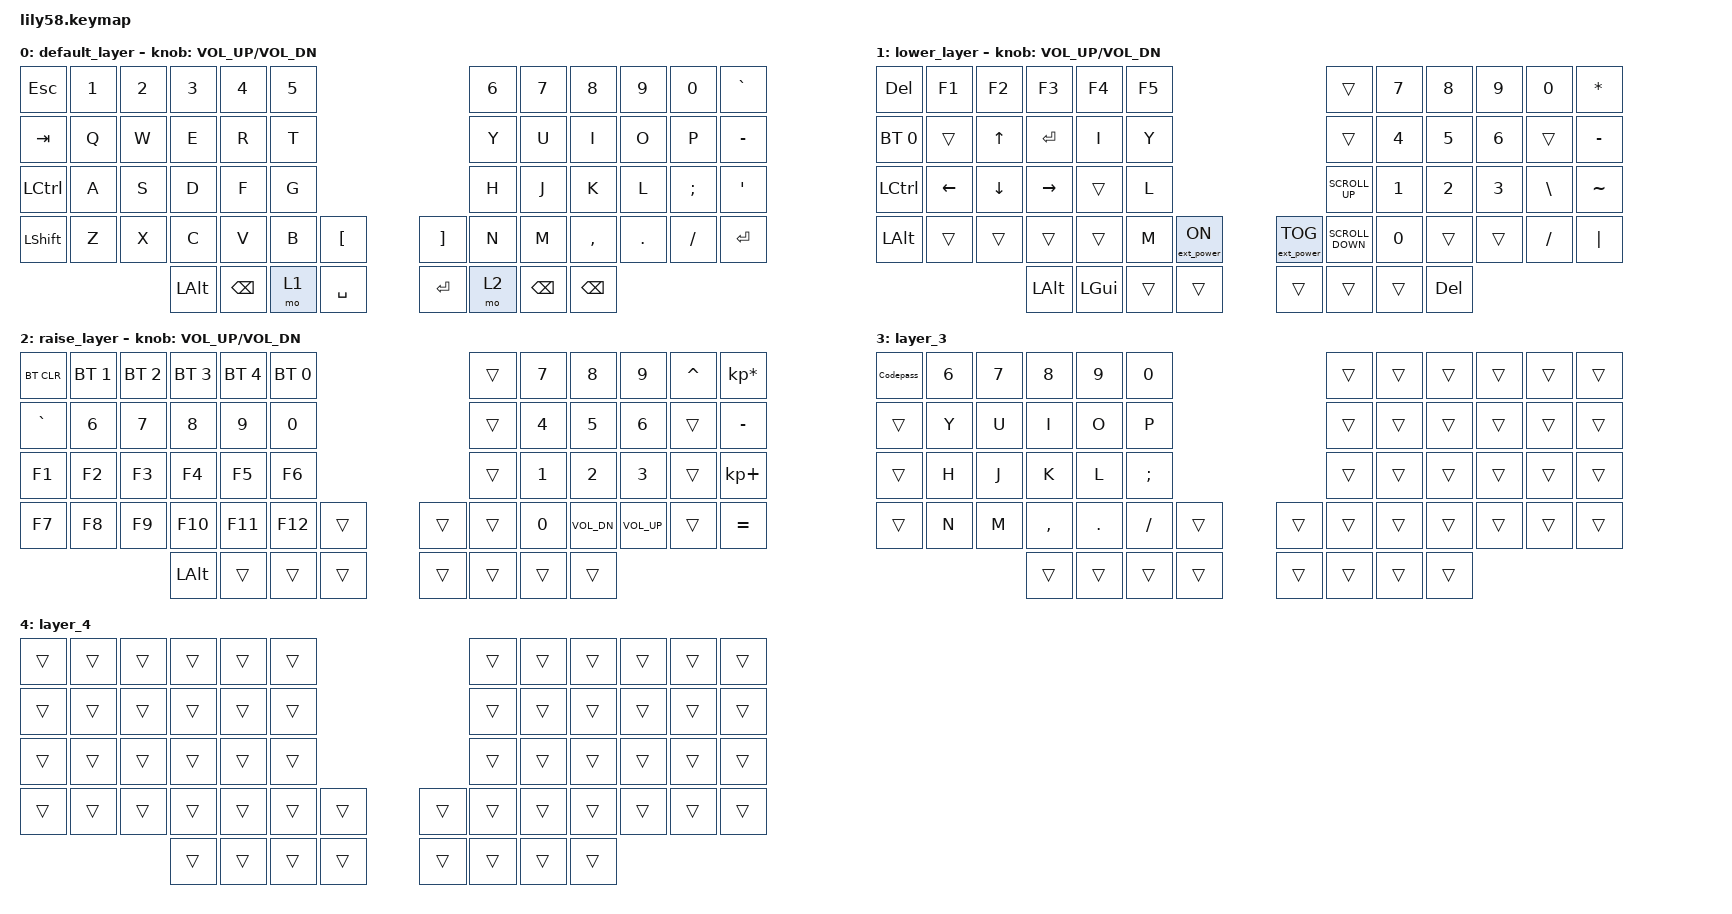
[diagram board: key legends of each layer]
/*
 * Copyright (c) 2020 The ZMK Contributors
 *
 * SPDX-License-Identifier: MIT
 */

#include <behaviors.dtsi>
#include <dt-bindings/zmk/bt.h>
#include <dt-bindings/zmk/ext_power.h>
#include <dt-bindings/zmk/keys.h>

/ {
    macros {
        Codepass: new_macro {
            compatible = "zmk,behavior-macro";
            #binding-cells = <0>;
            bindings = <&kp N0 &kp N9 &kp N3 &kp N2 &kp N2 &kp N4>;
            label = "NEW_MACRO";
        };
    };

    keymap {
        compatible = "zmk,keymap";

        default_layer {
            // ------------------------------------------------------------------------------------------------------------
            // |  ESC  |  1  |  2  |  3   |  4   |  5   |                   |  6   |  7    |  8    |  9   |   0   |   `   |
            // |  TAB  |  Q  |  W  |  E   |  R   |  T   |                   |  Y   |  U    |  I    |  O   |   P   |   -   |
            // |  CTRL |  A  |  S  |  D   |  F   |  G   |                   |  H   |  J    |  K    |  L   |   ;   |   '   |
            // | SHIFT |  Z  |  X  |  C   |  V   |  B   |   "["  |  |  "]"  |  N   |  M    |  ,    |  .   |   /   | SHIFT |
            //                     | ALT  | GUI  | LOWER|  SPACE |  | ENTER | RAISE| BSPC  | GUI   |

            bindings = <
&kp ESC           &kp N1  &kp N2  &kp N3    &kp N4    &kp N5                                         &kp N6  &kp N7         &kp N8     &kp N9   &kp N0    &kp GRAVE
&kp TAB           &kp Q   &kp W   &kp E     &kp R     &kp T                                          &kp Y   &kp U          &kp I      &kp O    &kp P     &kp MINUS
&kp LEFT_CONTROL  &kp A   &kp S   &kp D     &kp F     &kp G                                          &kp H   &kp J          &kp K      &kp L    &kp SEMI  &kp SQT
&kp LSHFT         &kp Z   &kp X   &kp C     &kp V     &kp B   &kp LEFT_BRACKET    &kp RIGHT_BRACKET  &kp N   &kp M          &kp COMMA  &kp DOT  &kp FSLH  &kp RET
                                  &kp LALT  &kp BSPC  &mo 1   &kp SPACE           &kp RET            &mo 2   &kp BACKSPACE  &kp BSPC
            >;

            sensor-bindings = <&inc_dec_kp C_VOL_UP C_VOL_DN>;
        };

        lower_layer {
            // ------------------------------------------------------------------------------------------------------------
            // | BTCLR | BT1 | BT2 |  BT3 |  BT4 |  BT5 |                   |      |       |       |      |       |       |
            // |  F1   |  F2 |  F3 |  F4  |  F5  |  F6  |                   |  F7  |  F8   |  F9   |  F10 |  F11  |  F12  |
            // |   `   |  !  |  @  |  #   |  $   |  %   |                   |  ^   |  &    |  *    |  (   |   )   |   ~   |
            // |       |     |     |      |      |      |        |  |       |      |  _    |  +    |  {   |   }   |  "|"  |
            //                     |      |      |      |        |  |       |      |       |       |

            bindings = <
&kp DELETE        &kp F1    &kp F2    &kp F3        &kp F4    &kp F5                                         &trans             &kp N7        &kp NUMBER_8  &kp NUMBER_9  &kp N0         &kp ASTERISK
&bt BT_SEL 0      &trans    &kp UP    &kp RET       &kp I     &kp Y                                          &trans             &kp NUMBER_4  &kp N5        &kp NUMBER_6  &trans         &kp MINUS
&kp LEFT_CONTROL  &kp LEFT  &kp DOWN  &kp RIGHT     &trans    &kp L                                          &kp K_SCROLL_UP    &kp NUMBER_1  &kp NUMBER_2  &kp NUMBER_3  &kp BACKSLASH  &kp TILDE
&kp LALT          &trans    &trans    &trans        &trans    &kp M   &ext_power EP_ON    &ext_power EP_TOG  &kp K_SCROLL_DOWN  &kp N0        &trans        &trans        &kp SLASH      &kp PIPE
                                      &kp LEFT_ALT  &kp LGUI  &trans  &trans              &trans             &trans             &trans        &kp DELETE
            >;

            sensor-bindings = <&inc_dec_kp C_VOL_UP C_VOL_DN>;
        };

        raise_layer {
            // ------------------------------------------------------------------------------------------------------------
            // |       |     |     |      |      |      |                   |      |       |       |      |       |       |
            // |   `   |  1  |  2  |  3   |  4   |  5   |                   |  6   |   7   |   8   |  9   |   0   |       |
            // |   F1  |  F2 |  F3 |  F4  |  F5  |  F6  |                   |      |   <-  |   v   |  ^   |  ->   |       |
            // |   F7  |  F8 |  F9 |  F10 |  F11 |  F12 |        |  |       |  +   |   -   |   =   |  [   |   ]   |   \   |
            //                     |      |      |      |        |  |       |      |       |       |

            bindings = <
&bt BT_CLR  &bt BT_SEL 1  &bt BT_SEL 2  &bt BT_SEL 3  &bt BT_SEL 4  &bt BT_SEL 0                    &trans  &kp N7  &kp N8        &kp N9        &kp CARET  &kp KP_MULTIPLY
&kp GRAVE   &kp NUMBER_6  &kp N7        &kp NUMBER_8  &kp NUMBER_9  &kp NUMBER_0                    &trans  &kp N4  &kp N5        &kp N6        &trans     &kp MINUS
&kp F1      &kp F2        &kp F3        &kp F4        &kp F5        &kp F6                          &trans  &kp N1  &kp N2        &kp N3        &trans     &kp KP_PLUS
&kp F7      &kp F8        &kp F9        &kp F10       &kp F11       &kp F12       &trans    &trans  &trans  &kp N0  &kp C_VOL_DN  &kp C_VOL_UP  &trans     &kp EQUAL
                                        &kp LEFT_ALT  &trans        &trans        &trans    &trans  &trans  &trans  &trans
            >;

            sensor-bindings = <&inc_dec_kp C_VOL_UP C_VOL_DN>;
        };

        layer_3 {
            bindings = <
&Codepass  &kp NUMBER_6  &kp N7  &kp N8     &kp N9      &kp N0                           &trans  &trans  &trans  &trans  &trans  &trans
&trans     &kp Y         &kp U   &kp I      &kp O       &kp P                            &trans  &trans  &trans  &trans  &trans  &trans
&trans     &kp H         &kp J   &kp K      &kp L       &kp SEMICOLON                    &trans  &trans  &trans  &trans  &trans  &trans
&trans     &kp N         &kp M   &kp COMMA  &kp PERIOD  &kp SLASH      &trans    &trans  &trans  &trans  &trans  &trans  &trans  &trans
                                 &trans     &trans      &trans         &trans    &trans  &trans  &trans  &trans
            >;
        };

        layer_4 {
            bindings = <
&trans  &trans  &trans  &trans  &trans  &trans                    &trans  &trans  &trans  &trans  &trans  &trans
&trans  &trans  &trans  &trans  &trans  &trans                    &trans  &trans  &trans  &trans  &trans  &trans
&trans  &trans  &trans  &trans  &trans  &trans                    &trans  &trans  &trans  &trans  &trans  &trans
&trans  &trans  &trans  &trans  &trans  &trans  &trans    &trans  &trans  &trans  &trans  &trans  &trans  &trans
                        &trans  &trans  &trans  &trans    &trans  &trans  &trans  &trans
            >;
        };
    };
};
